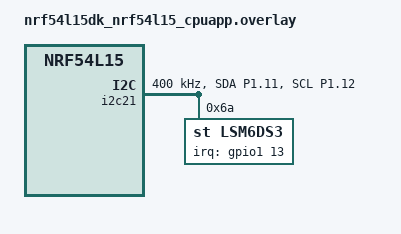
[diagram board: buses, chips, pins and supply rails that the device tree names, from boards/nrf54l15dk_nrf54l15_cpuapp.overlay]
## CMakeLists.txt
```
# SPDX-License-Identifier: Apache-2.0

cmake_minimum_required(VERSION 3.20.0)

list(APPEND ZEPHYR_EXTRA_MODULES ${CMAKE_CURRENT_SOURCE_DIR}/drivers)
list(APPEND DTS_ROOT ${CMAKE_CURRENT_SOURCE_DIR})

find_package(Zephyr REQUIRED HINTS $ENV{ZEPHYR_BASE})
project(gesture_recognition)

file(GLOB app_sources src/*)
target_sources(app PRIVATE ${app_sources})
```

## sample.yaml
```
sample:
  name: Gesture recognition using LSM6DSL 
tests:
  sample.sensor.lsm6dsl:
    harness: console
    tags: sensors
    depends_on: lsm6dsl
    timeout: 15
    harness_config:
      type: multi_line
      ordered: true
      regex:
        - "accel x:[-.0-9]* ms/2 y:[-.0-9]* ms/2 z:[-.0-9]* ms/2"
        - "gyro x:[-.0-9]* dps y:[-.0-9]* dps z:[-.0-9]* dps"
        - "loop:[0-9]* trig_cnt:[0-9]*"
```

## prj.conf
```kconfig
# Standard Hardware Support
CONFIG_I2C=y
CONFIG_SENSOR=y
CONFIG_LSM6DS3=y
CONFIG_GPIO=y

# Floating Point & Math (Crucial for score() function)
CONFIG_FPU=y
CONFIG_CBPRINTF_FP_SUPPORT=y

# IMU Interrupt/Thread Configuration
CONFIG_LSM6DS3_TRIGGER_OWN_THREAD=y
CONFIG_LSM6DS3_THREAD_PRIORITY=10

# Logging & Debugging
CONFIG_LOG=y
CONFIG_LOG_BUFFER_SIZE=4096
CONFIG_LOG_MODE_IMMEDIATE=y
CONFIG_LOG_PRINTK=y

# C++ Support for your Predictor Class
CONFIG_CPP=y
CONFIG_STD_CPP17=y

# Memory Management
CONFIG_MAIN_STACK_SIZE=8192
CONFIG_SYSTEM_WORKQUEUE_STACK_SIZE=4096
CONFIG_HEAP_MEM_POOL_SIZE=8192

# BLUETOOTH CORE
CONFIG_BT=y
CONFIG_BT_PERIPHERAL=y
CONFIG_BT_DEVICE_NAME="GestureRing"
CONFIG_BT_DEVICE_APPEARANCE=961
CONFIG_BT_MAX_CONN=1
CONFIG_BT_MAX_PAIRED=5
CONFIG_BT_CONN_CTX=y

# BLUETOOTH HID & SERVICES
CONFIG_BT_HIDS=y
CONFIG_BT_HIDS_MAX_CLIENT_COUNT=1
CONFIG_BT_HIDS_DEFAULT_PERM_RW_ENCRYPT=y
CONFIG_BT_HIDS_INPUT_REP_MAX=1

CONFIG_BT_BAS=y
CONFIG_BT_DIS=y
CONFIG_BT_DIS_PNP=y
CONFIG_BT_DIS_PNP_VID_SRC=2
CONFIG_BT_DIS_PNP_VID=0x1915
CONFIG_BT_DIS_PNP_PID=0x0001
CONFIG_BT_DIS_PNP_VER=0x0100

# BLUETOOTH SECURITY & BONDING (iOS/OSX COMPATIBILITY)
CONFIG_BT_SMP=y
CONFIG_BT_BONDABLE=y
CONFIG_BT_BONDING_REQUIRED=n
CONFIG_BT_SMP_SC_ONLY=n
CONFIG_BT_SMP_SC_PAIR_ONLY=n
CONFIG_BT_SMP_ALLOW_UNAUTH_OVERWRITE=y
CONFIG_BT_GATT_AUTO_SEC_REQ=n
CONFIG_BT_AUTO_PHY_UPDATE=n

# FLASH & SETTINGS (FOR SAVING BLUETOOTH PAIRINGS)
CONFIG_BT_SETTINGS=y
CONFIG_FLASH=y
CONFIG_FLASH_PAGE_LAYOUT=y
CONFIG_FLASH_MAP=y
CONFIG_NVS=y
CONFIG_SETTINGS=y
CONFIG_SETTINGS_NVS=y

# BLUETOOTH MEMORY POOLS
CONFIG_BT_GATT_UUID16_POOL_SIZE=40
CONFIG_BT_GATT_CHRC_POOL_SIZE=20
CONFIG_BT_ATT_TX_COUNT=5
```

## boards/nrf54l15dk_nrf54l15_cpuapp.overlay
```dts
/*
 * Device tree overlay for LSM6DS3 breakout on nRF54L15 DK
 *
 * Wiring:
 *   Breakout SDA  -> P1.11  (PORT 1, pin 11)
 *   Breakout SCL  -> P1.12  (PORT 1, pin 12)
 *   Breakout CS   -> VDD.IO (force I2C mode)
 *   Breakout SAO  -> GND    (I2C address 0x6A)
 *   Breakout VIN  -> VDD.IO
 *   Breakout GND  -> GND
 *   Breakout INT1 -> P1.13
 */

&pinctrl {
	i2c21_default: i2c21_default {
		group1 {
			psels = <NRF_PSEL(TWIM_SDA, 1, 11)>,
				<NRF_PSEL(TWIM_SCL, 1, 12)>;
			bias-pull-up;
		};
	};

	i2c21_sleep: i2c21_sleep {
		group1 {
			psels = <NRF_PSEL(TWIM_SDA, 1, 11)>,
				<NRF_PSEL(TWIM_SCL, 1, 12)>;
			low-power-enable;
		};
	};
};

&i2c21 {
	status = "okay";
	clock-frequency = <I2C_BITRATE_FAST>;
	pinctrl-0 = <&i2c21_default>;
	pinctrl-1 = <&i2c21_sleep>;
	pinctrl-names = "default", "sleep";

	lsm6ds3: lsm6ds3@6a {
		compatible = "st,lsm6ds3";
		reg = <0x6a>;
		// irq-gpios = <&gpio1 13 GPIO_ACTIVE_HIGH>;
		irq-gpios = <&gpio1 13 (GPIO_ACTIVE_HIGH | GPIO_PULL_DOWN)>;
	};
};
```

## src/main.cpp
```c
#include "main_functions.hpp"
#include <zephyr/logging/log.h>

LOG_MODULE_REGISTER(gesture_app, LOG_LEVEL_INF);

int main(int argc, char *argv[])
{
	if (!setup()) {
        LOG_ERR("Setup Failed.\n");
        return -1; 
    }
	while (true) {
		loop();
	}
}
```

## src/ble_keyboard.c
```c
/**
 * @file ble_keyboard.c
 * @brief BLE HID Keyboard with TinyML Gesture Classification Interface
 * 
 * This code receives gesture classifications from a TinyML model
 * and sends corresponding arrow key inputs over BLE HID.
 */

#include "ble_keyboard.h"
#include <zephyr/types.h>
#include <stddef.h>
#include <string.h>
#include <zephyr/kernel.h>
#include <zephyr/bluetooth/bluetooth.h>
#include <zephyr/bluetooth/hci.h>
#include <zephyr/bluetooth/conn.h>
#include <zephyr/bluetooth/uuid.h>
#include <zephyr/bluetooth/gatt.h>
#include <zephyr/settings/settings.h>
#include <bluetooth/services/hids.h>

/*===========================================================================*/
/* GESTURE CLASSIFICATION DEFINITIONS                                        */
/*===========================================================================*/

/**
 * @brief Gesture classification result from TinyML model
 */
typedef struct {
    gesture_type_t type;       /**< Classified gesture type */
    float confidence;          /**< Confidence score (0.0 - 1.0) */
    int64_t timestamp;         /**< Timestamp when gesture was detected */
} gesture_result_t;

/**
 * @brief Configuration for gesture processing
 */
typedef struct {
    float confidence_threshold;  /**< Minimum confidence to accept gesture */
    uint32_t debounce_ms;        /**< Minimum time between gestures */
    uint32_t key_hold_ms;        /**< How long to hold key down */
    uint32_t key_gap_ms;         /**< Gap between key repeats */
    uint32_t key_repeat_count;   /**< Number of key press cycles per gesture */
    uint32_t key_repeat_count_vert;   /**< Number of key press cycles for vertical gestures */
    uint32_t key_repeat_count_horiz;  /**< Number of key press cycles for horizontal gestures */
} gesture_config_t;

/*===========================================================================*/
/* CONFIGURATION                                                              */
/*===========================================================================*/

#define OUTPUT_REPORT_MAX_LEN     1
#define INPUT_REPORT_KEYS_MAX_LEN 8

/* Speed tuning */
#define USE_QUEUED_WRITES         1

/* Gesture processing defaults */
#define DEFAULT_CONFIDENCE_THRESHOLD  0.7f
#define DEFAULT_DEBOUNCE_MS          200
#define DEFAULT_KEY_HOLD_MS           50
#define DEFAULT_KEY_GAP_MS            10
#define DEFAULT_KEY_REPEAT_COUNT       10
#define DEFAULT_KEY_REPEAT_COUNT_VERT  20
#define DEFAULT_KEY_REPEAT_COUNT_HORIZ  1

/* Thread configuration */
#define GESTURE_THREAD_STACK_SIZE   2048
#define GESTURE_THREAD_PRIORITY     K_PRIO_COOP(2)
#define KEY_THREAD_STACK_SIZE       1024
#define KEY_THREAD_PRIORITY         K_PRIO_COOP(1)

/* Message queue for gestures */
#define GESTURE_QUEUE_SIZE          8

/* Arrow key HID usage codes */
#define KEY_UP_ARROW    0x52
#define KEY_DOWN_ARROW  0x51
#define KEY_LEFT_ARROW  0x50
#define KEY_RIGHT_ARROW 0x4F

/*===========================================================================*/
/* GLOBAL STATE                                                               */
/*===========================================================================*/

static volatile bool hid_ready = false;

BT_HIDS_DEF(hids_obj,
            OUTPUT_REPORT_MAX_LEN,
            INPUT_REPORT_KEYS_MAX_LEN);

static struct bt_conn *current_conn;
static volatile bool is_secured = false;
static volatile bool input_rep_enabled = false;

/* Pre-allocated report buffers */
static uint8_t press_report[8] __aligned(4);
static uint8_t release_report[8] __aligned(4) = {0};

/* Flow control */
static atomic_t pending_sends = ATOMIC_INIT(0);
#define MAX_PENDING_SENDS 6

/* Gesture processing state */
static gesture_config_t gesture_config = {
    .confidence_threshold = DEFAULT_CONFIDENCE_THRESHOLD,
    .debounce_ms = DEFAULT_DEBOUNCE_MS,
    .key_hold_ms = DEFAULT_KEY_HOLD_MS,
    .key_gap_ms = DEFAULT_KEY_GAP_MS,
    .key_repeat_count_vert = DEFAULT_KEY_REPEAT_COUNT_VERT,
    .key_repeat_count_horiz = DEFAULT_KEY_REPEAT_COUNT_HORIZ,
};

static int64_t last_gesture_time = 0;

/* Message queue for gesture results */
K_MSGQ_DEFINE(gesture_msgq, sizeof(gesture_result_t), GESTURE_QUEUE_SIZE, 4);

/* Thread stacks */
static K_THREAD_STACK_DEFINE(key_stack, KEY_THREAD_STACK_SIZE);
static struct k_thread key_thread;

static K_THREAD_STACK_DEFINE(gesture_stack, GESTURE_THREAD_STACK_SIZE);
static struct k_thread gesture_thread;

/* Semaphore for key sending */
static volatile uint8_t pending_keycode = 0;
static K_SEM_DEFINE(key_sem, 0, 1);

/*===========================================================================*/
/* GESTURE TO KEYCODE MAPPING                                                 */
/*===========================================================================*/

/**
 * @brief Map gesture type to HID keycode
 * @param gesture The gesture type
 * @return HID keycode, or 0 if no mapping exists
 */
static uint8_t gesture_to_keycode(gesture_type_t gesture)
{
    switch (gesture) {
    case GESTURE_SWIPE_UP:
        return KEY_DOWN_ARROW;
    case GESTURE_SWIPE_DOWN:
        return KEY_UP_ARROW;
    case GESTURE_SWIPE_LEFT:
        return KEY_LEFT_ARROW;
    case GESTURE_SWIPE_RIGHT:
        return KEY_RIGHT_ARROW;
    default:
        return 0;
    }
}

/**
 * @brief Get human-readable name for gesture type
 */
static const char *gesture_name(gesture_type_t gesture)
{
    static const char *names[] = {
        [GESTURE_NONE] = "NONE",
        [GESTURE_SWIPE_UP] = "SWIPE_UP",
        [GESTURE_SWIPE_DOWN] = "SWIPE_DOWN",
        [GESTURE_SWIPE_LEFT] = "SWIPE_LEFT",
        [GESTURE_SWIPE_RIGHT] = "SWIPE_RIGHT",
    };
    
    if (gesture < GESTURE_COUNT) {
        return names[gesture];
    }
    return "UNKNOWN";
}

/*===========================================================================*/
/* PUBLIC API - Call these from your TinyML code                             */
/*===========================================================================*/

/**
 * @brief Submit a gesture classification result
 * 
 * Call this function from your TinyML inference code when a gesture
 * is classified. The gesture will be queued and processed by the
 * gesture handler thread.
 * 
 * @param type The classified gesture type
 * @param confidence Confidence score (0.0 to 1.0)
 * @return 0 on success, negative error code on failure
 * 
 * @example
 *   // In your TinyML inference callback:
 *   if (inference_result.class == CLASS_SWIPE_UP) {
 *       gesture_submit(GESTURE_SWIPE_UP, inference_result.confidence);
 *   }
 */
int gesture_submit(gesture_type_t type, float confidence)
{
    gesture_result_t result = {
        .type = type,
        .confidence = confidence,
        .timestamp = k_uptime_get(),
    };
    
    int err = k_msgq_put(&gesture_msgq, &result, K_NO_WAIT);
    if (err) {
        printk("Gesture queue full, dropping gesture\n");
    }
    return err;
}

/**
 * @brief Submit a gesture with default confidence
 * 
 * Convenience function when confidence is not available or always high.
 * 
 * @param type The classified gesture type
 * @return 0 on success, negative error code on failure
 */
int gesture_submit_simple(gesture_type_t type)
{
    return gesture_submit(type, 1.0f);
}

/**
 * @brief Check if HID is ready to send keypresses
 * @return true if connected and ready, false otherwise
 */
bool gesture_hid_is_ready(void)
{
    return hid_ready;
}

/**
 * @brief Update gesture processing configuration
 * @param config New configuration to apply
 */
void gesture_set_config(const gesture_config_t *config)
{
    if (config) {
        gesture_config = *config;
        printk("Gesture config updated: thresh=%.2f, debounce=%dms\n",
               (double)gesture_config.confidence_threshold,
               gesture_config.debounce_ms);
    }
}

/**
 * @brief Get current gesture configuration
 * @param config Output parameter for current configuration
 */
void gesture_get_config(gesture_config_t *config)
{
    if (config) {
        *config = gesture_config;
    }
}

/*===========================================================================*/
/* BLE HID INTERNALS                                                         */
/*===========================================================================*/

static void report_sent_cb(struct bt_conn *conn, void *user_data)
{
    ARG_UNUSED(conn);
    ARG_UNUSED(user_data);
    atomic_dec(&pending_sends);
}

static void boot_kb_notif_handler(enum bt_hids_notify_evt evt)
{
    printk("Boot KB notifications: %s\n",
           evt == BT_HIDS_CCCD_EVT_NOTIFY_ENABLED ? "ON" : "OFF");
}

static void input_rep_notif_handler(enum bt_hids_notify_evt evt)
{
    input_rep_enabled = (evt == BT_HIDS_CCCD_EVT_NOTIFY_ENABLED);
    printk("Input report notifications: %s\n", input_rep_enabled ? "ON" : "OFF");
    
    if (input_rep_enabled && is_secured) {
        hid_ready = true;
        printk("*** HID READY - Gestures will now send keypresses ***\n");
    } else {
        hid_ready = false;
    }
}

static void hids_pm_evt_handler(enum bt_hids_pm_evt evt, struct bt_conn *conn)
{
    ARG_UNUSED(conn);
    printk("Protocol mode: %s\n",
           evt == BT_HIDS_PM_EVT_BOOT_MODE_ENTERED ? "BOOT" : "REPORT");
}

static void pairing_complete(struct bt_conn *conn, bool bonded)
{
    ARG_UNUSED(conn);
    printk("Pairing complete (bonded=%d)\n", bonded);
}

static void pairing_failed(struct bt_conn *conn, enum bt_security_err reason)
{
    ARG_UNUSED(conn);
    printk("Pairing failed (reason=%d)\n", reason);
}

static struct bt_conn_auth_info_cb auth_info_cb = {
    .pairing_complete = pairing_complete,
    .pairing_failed = pairing_failed,
};

static void auth_passkey_confirm(struct bt_conn *conn, unsigned int passkey)
{
    printk("Passkey: %06u - Auto confirming\n", passkey);
    bt_conn_auth_passkey_confirm(conn);
}

static struct bt_conn_auth_cb auth_cb = {
    .passkey_confirm = auth_passkey_confirm,
};

static void request_fast_conn_params(struct bt_conn *conn)
{
    const struct bt_le_conn_param fast_params = {
        .interval_min = 12,
        .interval_max = 24,
        .latency = 0,
        .timeout = 400,
    };

    int err = bt_conn_le_param_update(conn, &fast_params);
    printk("Connection param update request: %d\n", err);
}

static void connected(struct bt_conn *conn, uint8_t err)
{
    char addr[BT_ADDR_LE_STR_LEN];

    bt_addr_le_to_str(bt_conn_get_dst(conn), addr, sizeof(addr));

    if (err) {
        printk("Connection failed (err %u)\n", err);
        return;
    }

    printk("Connected: %s\n", addr);

    current_conn = bt_conn_ref(conn);
    is_secured = false;
    input_rep_enabled = false;
    atomic_set(&pending_sends, 0);

    bt_hids_connected(&hids_obj, conn);
    bt_conn_set_security(conn, BT_SECURITY_L2);
}

static void disconnected(struct bt_conn *conn, uint8_t reason)
{
    ARG_UNUSED(conn);
    printk("Disconnected (reason=0x%02x)\n", reason);

    bt_hids_disconnected(&hids_obj, conn);
    
    if (current_conn) {
        bt_conn_unref(current_conn);
        current_conn = NULL;
    }
    
    is_secured = false;
    hid_ready = false;
    atomic_set(&pending_sends, 0);
    
    /* Clear any pending gestures */
    k_msgq_purge(&gesture_msgq);
}

static void security_changed(struct bt_conn *conn, bt_security_t level,
                             enum bt_security_err err)
{
    printk("Security level: %d (err=%d)\n", level, err);
    
    if (!err && level >= BT_SECURITY_L2) {
        is_secured = true;
        if (input_rep_enabled) {
            hid_ready = true;
            printk("*** HID READY - Gestures will now send keypresses ***\n");
        }
        request_fast_conn_params(conn);
    }
}

static void conn_param_updated(struct bt_conn *conn, uint16_t interval,
                               uint16_t latency, uint16_t timeout)
{
    ARG_UNUSED(conn);
    printk("Conn params: interval=%d (%.2fms), latency=%d, timeout=%d\n",
           interval, interval * 1.25, latency, timeout);
}

BT_CONN_CB_DEFINE(conn_callbacks) = {
    .connected = connected,
    .disconnected = disconnected,
    .security_changed = security_changed,
    .le_param_updated = conn_param_updated,
};

/*===========================================================================*/
/* KEY SENDING                                                               */
/*===========================================================================*/

static inline int send_report_fast(const uint8_t *data)
{
    if (!current_conn || atomic_get(&pending_sends) >= MAX_PENDING_SENDS) {
        return -EAGAIN;
    }

    atomic_inc(&pending_sends);

#if USE_QUEUED_WRITES
    return bt_hids_inp_rep_send(&hids_obj, current_conn, 0,
                                data, 8, report_sent_cb);
#else
    int err = bt_hids_inp_rep_send(&hids_obj, current_conn, 0,
                                   data, 8, NULL);
    if (err) {
        atomic_dec(&pending_sends);
    }
    return err;
#endif
}

static void key_sender_thread(void *a, void *b, void *c)
{
    ARG_UNUSED(a); ARG_UNUSED(b); ARG_UNUSED(c);

    while (1) {
        k_sem_take(&key_sem, K_FOREVER);

        uint8_t keycode = pending_keycode;

        if (!hid_ready || !current_conn || keycode == 0) {
            continue;
        }

        /* Pick repeat count based on axis */
        bool is_horizontal = (keycode == KEY_LEFT_ARROW || keycode == KEY_RIGHT_ARROW);
        uint32_t repeat_count = is_horizontal
            ? gesture_config.key_repeat_count_horiz
            : gesture_config.key_repeat_count_vert;

        memset(press_report, 0, sizeof(press_report));
        press_report[2] = keycode;

        int64_t start = k_uptime_get();
        uint32_t sent = 0;

        for (uint32_t i = 0; i < repeat_count && hid_ready; i++) {
            /* Wait for queue space */
            int timeout = 50;
            while (atomic_get(&pending_sends) >= MAX_PENDING_SENDS && timeout-- > 0) {
                k_sleep(K_MSEC(1));
            }
            if (!hid_ready) break;

            /* PRESS */
            if (send_report_fast(press_report) < 0) continue;

            /* HOLD */
            k_sleep(K_MSEC(gesture_config.key_hold_ms));

            /* RELEASE */
            while (atomic_get(&pending_sends) >= MAX_PENDING_SENDS && hid_ready) {
                k_sleep(K_MSEC(1));
            }
            send_report_fast(release_report);

            sent++;

            /* GAP before next cycle */
            if (gesture_config.key_gap_ms > 0) {
                k_sleep(K_MSEC(gesture_config.key_gap_ms));
            }
        }

        printk("Sent %d keypresses in %lld ms\n", sent, k_uptime_get() - start);
    }
}

static void send_keycode(uint8_t keycode)
{
    pending_keycode = keycode;
    k_sem_give(&key_sem);
}

/*===========================================================================*/
/* GESTURE PROCESSING THREAD                                                 */
/*===========================================================================*/

static void gesture_handler_thread(void *a, void *b, void *c)
{
    ARG_UNUSED(a);
    ARG_UNUSED(b);
    ARG_UNUSED(c);

    gesture_result_t result;

    printk("Gesture handler thread started\n");

    while (1) {
        /* Wait for gesture from TinyML */
        int err = k_msgq_get(&gesture_msgq, &result, K_FOREVER);
        if (err) {
            continue;
        }

        /* Log received gesture */
        printk("Gesture: %s (conf=%.2f)\n",
               gesture_name(result.type), (double)result.confidence);

        /* Filter: Ignore NONE gestures */
        if (result.type == GESTURE_NONE) {
            continue;
        }

        /* Filter: Check confidence threshold */
        if (result.confidence < gesture_config.confidence_threshold) {
            printk("  -> Rejected: confidence %.2f < threshold %.2f\n",
                   (double)result.confidence, (double)gesture_config.confidence_threshold);
            continue;
        }

        /* Filter: Debounce - ignore rapid repeated gestures */
        int64_t now = k_uptime_get();
        if ((now - last_gesture_time) < gesture_config.debounce_ms) {
            printk("  -> Rejected: debounce (%lld ms since last)\n",
                   now - last_gesture_time);
            continue;
        }
        last_gesture_time = now;

        /* Check if HID is ready */
        if (!hid_ready) {
            printk("  -> Rejected: HID not ready\n");
            continue;
        }

        /* Map gesture to keycode */
        uint8_t keycode = gesture_to_keycode(result.type);
        if (keycode == 0) {
            printk("  -> Rejected: no keycode mapping\n");
            continue;
        }

        /* Send the keypress */
        printk("  -> Sending keycode 0x%02X\n", keycode);
        send_keycode(keycode);
    }
}

/*===========================================================================*/
/* HID SERVICE INITIALIZATION                                                */
/*===========================================================================*/

static const struct bt_data ad[] = {
    BT_DATA_BYTES(BT_DATA_FLAGS, (BT_LE_AD_GENERAL | BT_LE_AD_NO_BREDR)),
    BT_DATA_BYTES(BT_DATA_UUID16_ALL,
                  BT_UUID_16_ENCODE(BT_UUID_HIDS_VAL),
                  BT_UUID_16_ENCODE(BT_UUID_BAS_VAL)),
    BT_DATA_BYTES(BT_DATA_GAP_APPEARANCE, 0xC1, 0x03),
};

static const struct bt_data sd[] = {
    BT_DATA(BT_DATA_NAME_COMPLETE, CONFIG_BT_DEVICE_NAME,
            sizeof(CONFIG_BT_DEVICE_NAME) - 1),
};

static const uint8_t hid_report_map[] = {
    0x05, 0x01,        /* Usage Page (Generic Desktop) */
    0x09, 0x06,        /* Usage (Keyboard) */
    0xA1, 0x01,        /* Collection (Application) */
    0x05, 0x07,        /*   Usage Page (Key Codes) */
    0x19, 0xE0,        /*   Usage Minimum (224) */
    0x29, 0xE7,        /*   Usage Maximum (231) */
    0x15, 0x00,        /*   Logical Minimum (0) */
    0x25, 0x01,        /*   Logical Maximum (1) */
    0x75, 0x01,        /*   Report Size (1) */
    0x95, 0x08,        /*   Report Count (8) */
    0x81, 0x02,        /*   Input (Data, Variable, Absolute) - Modifier byte */
    0x95, 0x01,        /*   Report Count (1) */
    0x75, 0x08,        /*   Report Size (8) */
    0x81, 0x01,        /*   Input (Constant) - Reserved byte */
    0x95, 0x06,        /*   Report Count (6) */
    0x75, 0x08,        /*   Report Size (8) */
    0x15, 0x00,        /*   Logical Minimum (0) */
    0x25, 0x65,        /*   Logical Maximum (101) */
    0x05, 0x07,        /*   Usage Page (Key Codes) */
    0x19, 0x00,        /*   Usage Minimum (0) */
    0x29, 0x65,        /*   Usage Maximum (101) */
    0x81, 0x00,        /*   Input (Data, Array) - Key arrays (6 keys) */
    0x95, 0x05,        /*   Report Count (5) */
    0x75, 0x01,        /*   Report Size (1) */
    0x05, 0x08,        /*   Usage Page (LEDs) */
    0x19, 0x01,        /*   Usage Minimum (1) */
    0x29, 0x05,        /*   Usage Maximum (5) */
    0x91, 0x02,        /*   Output (Data, Variable, Absolute) - LED report */
    0x95, 0x01,        /*   Report Count (1) */
    0x75, 0x03,        /*   Report Size (3) */
    0x91, 0x01,        /*   Output (Constant) - LED padding */
    0xC0               /* End Collection */
};

static void hids_outp_rep_handler(struct bt_hids_rep *rep,
                                  struct bt_conn *conn, bool write)
{
    ARG_UNUSED(rep);
    ARG_UNUSED(conn);
    ARG_UNUSED(write);
}

static void hids_boot_kb_outp_rep_handler(struct bt_hids_rep *rep,
                                          struct bt_conn *conn, bool write)
{
    ARG_UNUSED(rep);
    ARG_UNUSED(conn);
    ARG_UNUSED(write);
}

static void hid_init(void)
{
    int err;
    struct bt_hids_init_param hids_init = {0};
    struct bt_hids_inp_rep *inp_rep;
    struct bt_hids_outp_feat_rep *outp_rep;

    hids_init.rep_map.data = hid_report_map;
    hids_init.rep_map.size = sizeof(hid_report_map);

    hids_init.info.bcd_hid = 0x0111;
    hids_init.info.b_country_code = 0x00;
    hids_init.info.flags = BT_HIDS_REMOTE_WAKE | BT_HIDS_NORMALLY_CONNECTABLE;

    hids_init.is_kb = true;
    hids_init.pm_evt_handler = hids_pm_evt_handler;
    hids_init.boot_kb_notif_handler = boot_kb_notif_handler;
    hids_init.boot_kb_outp_rep_handler = hids_boot_kb_outp_rep_handler;

    inp_rep = &hids_init.inp_rep_group_init.reports[0];
    inp_rep->size = INPUT_REPORT_KEYS_MAX_LEN;
    inp_rep->id = 0;
    inp_rep->handler = input_rep_notif_handler;
    hids_init.inp_rep_group_init.cnt = 1;

    outp_rep = &hids_init.outp_rep_group_init.reports[0];
    outp_rep->size = OUTPUT_REPORT_MAX_LEN;
    outp_rep->id = 0;
    outp_rep->handler = hids_outp_rep_handler;
    hids_init.outp_rep_group_init.cnt = 1;

    err = bt_hids_init(&hids_obj, &hids_init);
    printk("bt_hids_init: %d\n", err);
}

/*===========================================================================*/
/* MAIN                                                                       */
/*===========================================================================*/

int ble_keyboard_init(void)
{
    int err;
    
    // Initialize Bluetooth
    err = bt_enable(NULL);
    if (err) {
        printk("Bluetooth init failed: %d\n", err);
        return err;
    }

    if (IS_ENABLED(CONFIG_BT_SETTINGS)) {
        settings_load();
    }

    bt_conn_auth_cb_register(&auth_cb);
    bt_conn_auth_info_cb_register(&auth_info_cb);

    hid_init();

    k_thread_create(&key_thread, key_stack, KEY_THREAD_STACK_SIZE,
                    key_sender_thread, NULL, NULL, NULL,
                    KEY_THREAD_PRIORITY, 0, K_NO_WAIT);

    k_thread_create(&gesture_thread, gesture_stack, GESTURE_THREAD_STACK_SIZE,
                    gesture_handler_thread, NULL, NULL, NULL,
                    GESTURE_THREAD_PRIORITY, 0, K_NO_WAIT);

    err = bt_le_adv_start(BT_LE_ADV_CONN_FAST_1, ad, ARRAY_SIZE(ad),
                          sd, ARRAY_SIZE(sd));
    if (err) {
        printk("Advertising failed to start: %d\n", err);
        return err;
    }

    return 0;
}
```

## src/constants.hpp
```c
#ifndef CONSTANTS_H_
#define CONSTANTS_H_

/** Training data statistics:
Accelerometer: m/s² 
Gyroscope: rad/s 
*/

// Mean values
#define ACCEL_X_MEAN -2.545875f
#define ACCEL_Y_MEAN 6.037923f
#define ACCEL_Z_MEAN 0.781317f
#define GYRO_X_MEAN 0.061443f
#define GYRO_Y_MEAN -0.103846f
#define GYRO_Z_MEAN 0.003154f

// Standard deviation values 
#define ACCEL_X_STD 5.859293f
#define ACCEL_Y_STD 3.801762f
#define ACCEL_Z_STD 4.831740f
#define GYRO_X_STD 0.718018f
#define GYRO_Y_STD 1.324086f
#define GYRO_Z_STD 0.492886f

/* The number of time-steps in one "clip" (the window length) */
constexpr int kWindowSize = 100;

/* The number of sensor features (3 Accel + 3 Gyro) */
constexpr int kFeatureCount = 6;

/* Total length of the flattened input tensor (128 * 6 = 768) */
constexpr int kMaxInputLength = kWindowSize * kFeatureCount;

/* The expected IMU sample frequency in Hz */
const float kTargetHz = 104.0f;

const int kMotionThreshold = 32;
const int kMotionDuration = 1;

/* Gesture classification settings */
constexpr int kGestureCount = 8;
/* What gestures are supported. */
inline const char* kGestureNames[] = {
    "UP", 
    "DOWN", 
    "LEFT", 
    "RIGHT", 
    "TAP", 
    "DOUBLE_TAP", 
    "STATIC", 
    "NONE"
};
constexpr int kSlideUp = 0;
constexpr int kSlideDown = 1;
constexpr int kSlideLeft = 2;
constexpr int kSlideRight = 3;

constexpr float kDetectionThreshold = 0.6f;



#endif /* CONSTANTS_H_ */
```

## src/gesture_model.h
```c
#ifndef GESTURE_MODEL_H
#define GESTURE_MODEL_H

#ifdef __cplusplus
extern "C" {
#endif

void score(double* input, double* output);

#ifdef __cplusplus
}
#endif

#endif
```

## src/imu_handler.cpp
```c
#include "imu_handler.hpp"
#include "constants.hpp"
#include <zephyr/kernel.h>
#include <zephyr/device.h>
#include <zephyr/drivers/sensor.h>
#include <math.h>
#include <zephyr/logging/log.h>
#include <stdio.h>
#include <string.h>
#include <zephyr/drivers/i2c.h>

LOG_MODULE_REGISTER(imu_handler, LOG_LEVEL_INF);

#define BUFLEN 300

int begin_index = 0;
const struct device *const sensor = DEVICE_DT_GET_ONE(st_lsm6ds3);

float buf_accel_x[BUFLEN] = { 0.0f };
float buf_accel_y[BUFLEN] = { 0.0f };
float buf_accel_z[BUFLEN] = { 0.0f };
float buf_gyro_x[BUFLEN] = { 0.0f };
float buf_gyro_y[BUFLEN] = { 0.0f };
float buf_gyro_z[BUFLEN] = { 0.0f };

K_SEM_DEFINE(gesture_trigger_sem, 0, 1);
const struct i2c_dt_spec i2c_bus = I2C_DT_SPEC_GET(DT_NODELABEL(lsm6ds3));

#define STACKSIZE 1024
#define PRIORITY 7

void capture_sample() {
    struct sensor_value accel[3];
    struct sensor_value gyro[3];

    sensor_sample_fetch(sensor);
    sensor_channel_get(sensor, SENSOR_CHAN_ACCEL_XYZ, accel);
    sensor_channel_get(sensor, SENSOR_CHAN_GYRO_XYZ, gyro);

    buf_accel_x[begin_index] = (float)sensor_value_to_double(&accel[0]);
    buf_accel_y[begin_index] = (float)sensor_value_to_double(&accel[1]);
    buf_accel_z[begin_index] = (float)sensor_value_to_double(&accel[2]);
	buf_gyro_x[begin_index] = (float)sensor_value_to_double(&gyro[0]);    
	buf_gyro_y[begin_index] = (float)sensor_value_to_double(&gyro[1]);    
	buf_gyro_z[begin_index] = (float)sensor_value_to_double(&gyro[2]);   
	
    begin_index = (begin_index + 1) % BUFLEN;
}

void sampling_thread_impl(void *, void *, void *) {
    while (1) {
        capture_sample();
        k_msleep(10); 
    }
}

K_THREAD_DEFINE(sampling_tid, STACKSIZE, sampling_thread_impl, NULL, NULL, NULL, PRIORITY, 0, 0);

void motion_interrup_handler(const struct device *dev, const struct sensor_trigger *trigger) {
	sensor_sample_fetch(dev);
    k_sem_give(&gesture_trigger_sem); 
}

int configure_motion_threshold(uint8_t threshold, uint8_t duration) {
	if (!device_is_ready(i2c_bus.bus)) {
        LOG_ERR("I2C bus not ready");
        return -ENODEV;
    }

    // Enable embedded functions
    uint8_t ctrl10_c[] = {0x19, 0x3C};
    i2c_write_dt(&i2c_bus, ctrl10_c, 2);
    
    // Enable interrupts with HPF
    uint8_t tap_cfg[] = {0x58, 0x90}; 
    if (i2c_write_dt(&i2c_bus, tap_cfg, 2) < 0) {
        LOG_ERR("Failed to write TAP_CFG");
        return -EIO;
    }
    
    // Set wake-up threshold
    uint8_t wu_ths[] = {0x5B, (threshold & 0x3F)};
    if (i2c_write_dt(&i2c_bus, wu_ths, 2) < 0) {
        LOG_ERR("Failed to write WAKE_UP_THS");
        return -EIO;
    }
    
    // Set wake-up duration
    uint8_t dur_val = (duration & 0x03) << 5;
    uint8_t dur_cfg[] = {0x5C, dur_val};
    if (i2c_write_dt(&i2c_bus, dur_cfg, 2) < 0) {
        LOG_ERR("Failed to write WAKE_UP_DUR");
        return -EIO;
    }
    
    // Disable data-ready interrupts on INT1
    // INT1_CTRL (0x0D): Set all bits to 0
    uint8_t int1_ctrl[] = {0x0D, 0x00};
    if (i2c_write_dt(&i2c_bus, int1_ctrl, 2) < 0) {
        LOG_ERR("Failed to write INT1_CTRL");
        return -EIO;
    }
    
    //Route ONLY wake-up interrupt to INT1
    uint8_t md1_cfg[] = {0x5E, 0x20};
    if (i2c_write_dt(&i2c_bus, md1_cfg, 2) < 0) {
        LOG_ERR("Failed to write MD1_CFG");
        return -EIO;
    }
    
    return 0;
}

bool SetupIMU()
{
	LOG_INF("IMU Setup Initialization");

	struct sensor_value odr;
	odr.val1 = (int32_t)kTargetHz; 
	odr.val2 = 0;

	if (!device_is_ready(sensor)) {
		LOG_ERR("%s: device not ready.\n", sensor->name);
		return false;
	}

	LOG_INF("IMU detected, name: %s\n", sensor->name);

	// Set Accelerometer to pulse at TargetHz
	if (sensor_attr_set(sensor, SENSOR_CHAN_ACCEL_XYZ,
						SENSOR_ATTR_SAMPLING_FREQUENCY, &odr) < 0) {
		LOG_ERR("Cannot set accelerometer ODR");
		return false;
	}

	LOG_INF("Accelerometer ODR set to %f Hz", (double)kTargetHz);

	// Set Gyroscope to pulse at TargetHz
	if (sensor_attr_set(sensor, SENSOR_CHAN_GYRO_XYZ, 
						SENSOR_ATTR_SAMPLING_FREQUENCY, &odr) < 0) {
		LOG_ERR("Cannot set gyroscope ODR");
		return false;
	}	

	LOG_INF("Gyroscope ODR set to %f Hz", (double)kTargetHz);

	struct sensor_trigger trig;
    trig.type = SENSOR_TRIG_DELTA;      // Trigger on change (motion)
    trig.chan = SENSOR_CHAN_ACCEL_XYZ; // Monitor the accelerometer

	int err;

    // Set the trigger
	err = sensor_trigger_set(sensor, &trig, motion_interrup_handler);
    if (err < 0) {
        LOG_ERR("Could not set sensor trigger: %d", err);
		return false;
    }

	LOG_INF("IMU trigger initialized");

	// Set the imu motion threshold
	err = configure_motion_threshold(kMotionThreshold, kMotionDuration);
	if (err) {
		LOG_ERR("I2C Manual Config Failed: %d", err);
		return false;
	}

	LOG_INF("Motion threshold and duration set to %d & %d", kMotionThreshold, kMotionDuration);

	LOG_INF("IMU Setup Successful");

	return true;
}

void PrepareModelInput(double *input) {
    for (int i = 0; i < kWindowSize; i++) {
        int ring_index = (begin_index - kWindowSize + i + BUFLEN) % BUFLEN;
        int offset = i * kFeatureCount;
        
        input[offset + 0] = (double)buf_accel_x[ring_index];
        input[offset + 1] = (double)buf_accel_y[ring_index];
        input[offset + 2] = (double)buf_accel_z[ring_index];
        input[offset + 3] = (double)buf_gyro_x[ring_index];
        input[offset + 4] = (double)buf_gyro_y[ring_index];
        input[offset + 5] = (double)buf_gyro_z[ring_index];
    }
}

void StreamIMUData() {
    double input[kWindowSize * kFeatureCount];
	printk("START_WINDOW\n"); 

	PrepareModelInput(input);

	for (int i = 0; i < kWindowSize; i++) {
		int offset = i * 6; // 6 channels (kFeatureCount)
		printk("%.4f,%.4f,%.4f,%.4f,%.4f,%.4f\n", 
			input[offset + 0], 
			input[offset + 1], 
			input[offset + 2],
			input[offset + 3], 
			input[offset + 4], 
			input[offset + 5]);

		if (i % 5 == 0) {
        	k_busy_wait(1000);
    	}
	}

	printk("END_WINDOW\n");
}
```

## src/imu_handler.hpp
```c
#ifndef IMU_HANDLER_H_
#define IMU_HANDLER_H_

extern int begin_index;
extern struct k_sem gesture_trigger_sem;

extern bool SetupIMU();
extern void PrepareModelInput(double *input);
extern void StreamIMUData();

#endif /* IMU_HANDLER_H_ */
```

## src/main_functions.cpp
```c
#include "main_functions.hpp"
#include "output_handler.hpp"
#include "constants.hpp"
#include "imu_handler.hpp"
#include <zephyr/sys/printk.h>
#include <zephyr/drivers/gpio.h>
#include "gesture_model.h"
#include <zephyr/kernel.h>
#include <zephyr/logging/log.h>

LOG_MODULE_REGISTER(main, LOG_LEVEL_INF);

static double model_input[kWindowSize * kFeatureCount];
static double model_output[kGestureCount];

int run_inference(){
    PrepareModelInput(model_input);

    score(model_input, model_output);

    float processed_scores[kGestureCount];
    for (int i = 0; i < kGestureCount; i++) {
        processed_scores[i] = (float)model_output[i];
    }

    int gesture_index = 7; // Default to "NONE"
    float max_val = 0.0f;

    for (int i = 0; i < kGestureCount; i++) {
        if ((float)model_output[i] > max_val) {
            max_val = (float)model_output[i];
            gesture_index = i;
        }
    }

    // Apply confidence threshold; if too low, force to "NONE"
    if (max_val < kDetectionThreshold) {
        gesture_index = 7; 
    }

    return gesture_index;
}

bool setup()
{
	LOG_INF("Setup Initialization");

	if (!SetupIMU()) {
		LOG_ERR("Failed to initialize IMU\n");
		return false;
	}

    SetupOutput();

	return true;
}

void loop(void)
{
	k_sem_take(&gesture_trigger_sem, K_FOREVER); 

	k_msleep(480);

    // StreamIMUData(); //for data collection

    int gesture_index = run_inference();

    if (gesture_index != 7){
        HandleOutput(gesture_index);
    }

	k_msleep(500); 
	while (k_sem_take(&gesture_trigger_sem, K_NO_WAIT) == 0);
}
```

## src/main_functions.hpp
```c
#ifndef MAIN_FUNCTIONS_H_
#define MAIN_FUNCTIONS_H_

/*  Expose a C friendly interface for main functions.*/
#ifdef __cplusplus
extern "C" {
#endif

/* Initializes imu */
bool setup(void);

/* Runs one iteration of data gathering and inference. This should be called repeatedly from the application code. */
void loop(void);

#ifdef __cplusplus
}
#endif

#endif /* MAIN_FUNCTIONS_H_ */
```

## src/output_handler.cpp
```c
#include "output_handler.hpp"
#include "ble_keyboard.h"
#include "constants.hpp"
#include <zephyr/drivers/gpio.h>
#include <zephyr/kernel.h>
#include <zephyr/logging/log.h>
#include "constants.hpp"

LOG_MODULE_REGISTER(output_handler, LOG_LEVEL_INF);

/* Get LED definitions from DeviceTree */
static const struct gpio_dt_spec leds[] = {
    GPIO_DT_SPEC_GET(DT_ALIAS(led0), gpios),
    GPIO_DT_SPEC_GET(DT_ALIAS(led1), gpios),
    GPIO_DT_SPEC_GET(DT_ALIAS(led2), gpios),
    GPIO_DT_SPEC_GET(DT_ALIAS(led3), gpios),
};

static bool leds_initialized = false;

void SetupOutput(void) {
    /* Initialize LEDs once */
    if (!leds_initialized) {
        for (int i = 0; i < 4; i++) {
            if (device_is_ready(leds[i].port)) {
                gpio_pin_configure_dt(&leds[i], GPIO_OUTPUT_INACTIVE);
            }
        }
        leds_initialized = true;
    }

    /* Initialize BLE Keyboard */
    ble_keyboard_init();
    LOG_INF("Outputs Initialized (LEDs + BLE)");
}

void HandleOutput(int kind) {
    /* First, turn all LEDs off */
    for (int i = 0; i < 4; i++) {
        gpio_pin_set_dt(&leds[i], 0);
    }

    /* Turn on the specific LED for the detected gesture (0, 1, 2, or 3) */
    if (kind >= 0 && kind <= 3) {
        gpio_pin_set_dt(&leds[kind], 1);
        
        LOG_INF("Gesture Detected: %s", kGestureNames[kind]);
    } 

    // Map ML output to BLE HID Gesture
    gesture_type_t ble_gesture = GESTURE_NONE;
    
    switch(kind) {
        case kSlideDown:    ble_gesture = GESTURE_SWIPE_DOWN; break;
        case kSlideUp:  ble_gesture = GESTURE_SWIPE_UP; break;
        case kSlideRight:  ble_gesture = GESTURE_SWIPE_LEFT; break;
        case kSlideLeft: ble_gesture = GESTURE_SWIPE_RIGHT; break;
        default: return; // Unknown gesture
    }

    // Submit to the BLE queue
    if (gesture_hid_is_ready()) {
        gesture_submit_simple(ble_gesture);
        LOG_INF("Gesture sent over BLE!");
    } else {
        LOG_INF("BLE not ready, gesture ignored.");
    }
}
```

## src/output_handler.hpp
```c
#ifndef OUTPUT_HANDLER_H_
#define OUTPUT_HANDLER_H_

void HandleOutput(int kind);

#endif /* OUTPUT_HANDLER_H_ */
```
